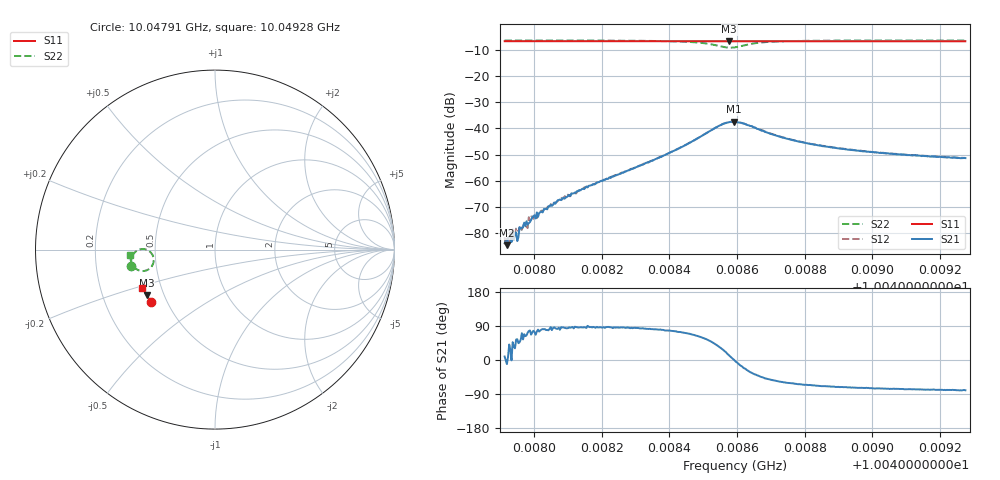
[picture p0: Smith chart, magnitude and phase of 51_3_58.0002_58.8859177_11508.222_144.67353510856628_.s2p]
#  HZ  S  RI  R  50.00
! Rohde & Schwarz Vector Network Analyzer
! Rohde-Schwarz,ZNB20-2Port,1311601062101988,3.16
! Created: UTC 3/21/2024, 12:52:36 AM
! freq[Hz]  re:S11  im:S11  re:S21  im:S21  re:S12  im:S12  re:S22  im:S22
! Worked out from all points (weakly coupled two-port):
!   401 points, 10.04791 GHz to 10.04928 GHz, reference 50 ohm
!   highest |S21| = -37.40 dB at 10.04859 GHz (marker M1); lowest = -84.4 dB at 10.04792 GHz (marker M2)
!   lowest |S11| = -6.8 dB at 10.04858 GHz (marker M3), VSWR 2.68, Z = 20.1 - j12.8 ohm
!   |S11| at or under -10 dB: nowhere
!   |S22| runs from -9.2 to -6.5 dB; largest |S21 - S12| = 0.001
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1.0047912e10  -0.3569 -0.2895  6.39e-05 1.04e-05  8.18e-05 2.16e-05  -0.4654 -0.0937
1.0047919e10  -0.3572 -0.2891  5.89e-05 -1.12e-05  7.46e-05 2.61e-05  -0.4653 -0.0932
1.0047947e10  -0.3581 -0.2878  6.15e-05 8.45e-05  6.96e-05 0.000102  -0.4657 -0.0909
1.0047974e10  -0.3594 -0.2863  6.38e-05 0.000125  6.62e-05 0.000123  -0.4658 -0.0885
1.0047991e10  -0.3602 -0.2853  7.06e-05 0.000166  4.92e-05 0.000203  -0.4661 -0.0868
1.0048001e10  -0.3605 -0.2847  6.32e-05 0.000214  5.04e-05 0.000218  -0.4662 -0.0859
1.0048018e10  -0.3612 -0.2839  5.25e-05 0.000249  2.77e-05 0.000258  -0.4663 -0.0844
1.0048073e10  -0.3634 -0.2809  3.61e-05 0.000432  2.61e-05 0.000432  -0.4668 -0.0794
1.0048141e10  -0.3662 -0.2771  4.82e-05 0.000697  2.24e-06 0.000684  -0.467 -0.0722
1.0048369e10  -0.3745 -0.2645  0.000485 0.00273  0.0003 0.00278  -0.4616 -0.0382
1.0048447e10  -0.3774 -0.26  0.00155 0.00459  0.00129 0.00466  -0.4487 -0.0171
1.0048522e10  -0.3797 -0.2554  0.00601 0.00691  0.00562 0.0073  -0.4025 0.00333
1.0048577e10  -0.3807 -0.2526  0.0129 0.00272  0.0128 0.00358  -0.3431 -0.0432
1.004859e10  -0.3813 -0.2522  0.0135 0.000223  0.0133 0.00112  -0.3419 -0.0677
1.0048594e10  -0.3812 -0.2521  0.0135 -0.000569  0.0134 0.000416  -0.3434 -0.0737
1.0048631e10  -0.3827 -0.2506  0.0102 -0.00536  0.0106 -0.00479  -0.3801 -0.1151
1.0048679e10  -0.3849 -0.248  0.00609 -0.00651  0.0065 -0.00615  -0.4233 -0.1162
1.0048737e10  -0.3872 -0.2449  0.00346 -0.00571  0.00385 -0.00554  -0.4474 -0.1014
1.0048822e10  -0.3902 -0.2398  0.00197 -0.00461  0.00229 -0.0045  -0.4611 -0.0828
1.0048924e10  -0.3935 -0.2337  0.00124 -0.00377  0.00147 -0.00376  -0.4675 -0.0673
1.004905e10  -0.3978 -0.2263  0.000779 -0.00321  0.00101 -0.00319  -0.4709 -0.0528
1.0049275e10  -0.4044 -0.2133  0.00048 -0.00268  0.000639 -0.00266  -0.4736 -0.0321
